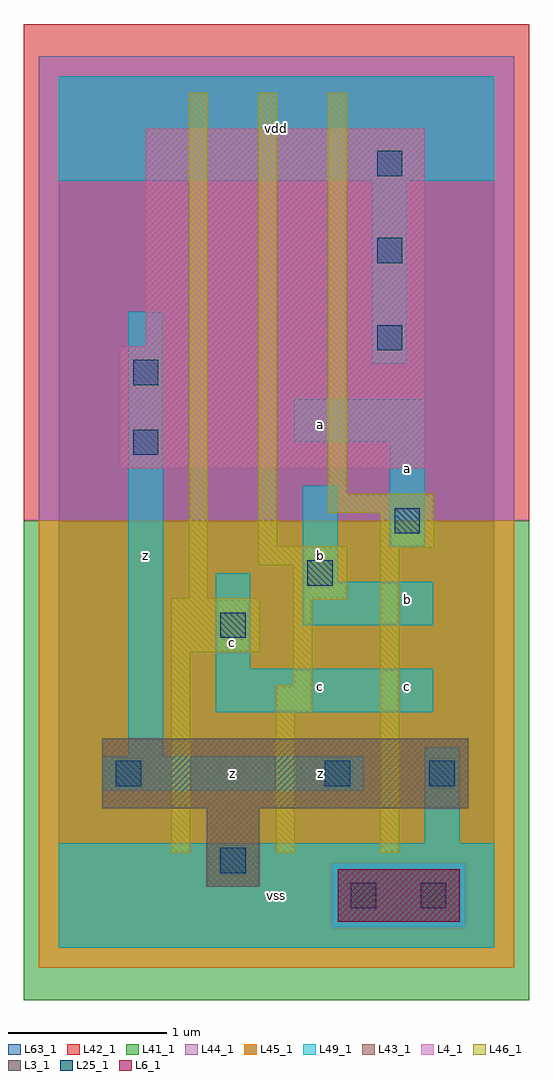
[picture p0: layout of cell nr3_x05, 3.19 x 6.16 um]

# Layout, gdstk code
import gdstk
lib = gdstk.Library(unit=1e-6, precision=1e-09)
def R(c, l, rs):  # rectangles x0, y0, x1, y1
    for r in rs: c.add(gdstk.rectangle(r[:2], r[2:], *l))
def A(c, l, x, y, w, h, nx, ny, dx, dy):  # array of equal rectangles
    R(c, l, [(x+i*dx, y+j*dy, x+i*dx+w, y+j*dy+h) for i in range(nx) for j in range(ny)])
L3_1 = (3, 1)
L4_1 = (4, 1)
L6_1 = (6, 1)
L25_1 = (25, 1)
L41_1 = (41, 1)
L42_1 = (42, 1)
L43_1 = (43, 1)
L44_1 = (44, 1)
L45_1 = (45, 1)
L46_1 = (46, 1)
L49_1 = (49, 1)
L63_1 = (63, 1)

nr3_x05 = lib.new_cell('nr3_x05')
R(nr3_x05, L3_1, [(0.935,0.385,1.265,0.88), (0.275,0.88,2.585,1.32)])
R(nr3_x05, L4_1, [(0.385,3.025,2.31,3.795), (0.55,3.795,2.31,5.17)])
R(nr3_x05, L6_1, [(1.76,0.165,2.53,0.495)])
A(nr3_x05, L25_1, 2.01, 3.77, 0.16, 0.16, 1, 3, 0, 0.55)
R(nr3_x05, L25_1, [(1.845,0.25,2.005,0.41), (2.285,0.25,2.445,0.41), (1.02,0.47,1.18,0.63), (0.36,1.02,0.52,1.18), (1.68,1.02,1.84,1.18), (2.34,1.02,2.5,1.18), (1.02,1.955,1.18,2.115), (1.57,2.285,1.73,2.445), (2.12,2.615,2.28,2.775), (0.47,3.11,0.63,3.27), (0.47,3.55,0.63,3.71)])
R(nr3_x05, L41_1, [(-0.22,-0.33,2.97,2.695)])
R(nr3_x05, L42_1, [(-0.22,2.695,2.97,5.83)])
R(nr3_x05, L43_1, [(1.76,0.165,2.53,0.495), (0.935,0.385,1.265,0.88), (0.275,0.88,2.585,1.32), (0.385,3.025,2.31,3.795), (0.55,3.795,2.31,5.17)])
R(nr3_x05, L44_1, [(1.72,0.125,2.57,0.535), (-0.125,2.695,2.875,5.625)])
R(nr3_x05, L45_1, [(-0.125,-0.125,2.875,0.125), (-0.125,0.125,1.72,0.535), (2.57,0.125,2.875,0.535), (-0.125,0.535,2.875,2.695)])
R(nr3_x05, L46_1, [(0.71,0.6,0.83,1.865), (1.37,0.6,1.49,1.48), (2.03,0.6,2.15,2.525), (1.37,1.48,1.6,1.655), (1.48,1.655,1.6,2.195), (0.71,1.865,1.27,2.205), (1.48,2.195,1.82,2.415), (0.82,2.205,0.94,5.395), (1.26,2.415,1.82,2.535), (2.03,2.525,2.37,2.745), (1.26,2.535,1.38,5.395), (1.7,2.745,2.37,2.865), (1.7,2.865,1.82,5.395)])
R(nr3_x05, L49_1, [(0,0,2.75,0.66), (2.31,0.66,2.53,1.265), (0.275,0.99,1.925,1.21), (0.44,1.21,0.66,4.015), (0.99,1.485,2.365,1.76), (0.99,1.76,1.21,2.365), (1.54,2.035,2.365,2.31), (1.54,2.31,1.76,2.915), (2.09,2.53,2.31,3.19), (1.485,3.19,2.31,3.465), (1.98,3.685,2.2,4.84), (0,4.84,2.75,5.5)])
R(nr3_x05, L63_1, [(0,0,2.75,5.5)])
nr3_x05.add(gdstk.Label('z', (1.1,1.1), layer=49, texttype=1))
nr3_x05.add(gdstk.Label('z', (1.1,1.1), layer=49, texttype=1))
nr3_x05.add(gdstk.Label('z', (0.55,2.475), layer=49, texttype=1))
nr3_x05.add(gdstk.Label('z', (0.55,2.475), layer=49, texttype=1))
nr3_x05.add(gdstk.Label('c', (1.1,1.925), layer=49, texttype=1))
nr3_x05.add(gdstk.Label('c', (1.1,1.925), layer=49, texttype=1))
nr3_x05.add(gdstk.Label('vss', (1.375,0.33), layer=49, texttype=1))
nr3_x05.add(gdstk.Label('vss', (1.375,0.33), layer=49, texttype=1))
nr3_x05.add(gdstk.Label('z', (1.65,1.1), layer=49, texttype=1))
nr3_x05.add(gdstk.Label('z', (1.65,1.1), layer=49, texttype=1))
nr3_x05.add(gdstk.Label('b', (1.65,2.475), layer=49, texttype=1))
nr3_x05.add(gdstk.Label('c', (1.65,1.65), layer=49, texttype=1))
nr3_x05.add(gdstk.Label('b', (1.65,2.475), layer=49, texttype=1))
nr3_x05.add(gdstk.Label('c', (1.65,1.65), layer=49, texttype=1))
nr3_x05.add(gdstk.Label('a', (1.65,3.3), layer=49, texttype=1))
nr3_x05.add(gdstk.Label('a', (1.65,3.3), layer=49, texttype=1))
nr3_x05.add(gdstk.Label('vdd', (1.375,5.17), layer=49, texttype=1))
nr3_x05.add(gdstk.Label('vdd', (1.375,5.17), layer=49, texttype=1))
nr3_x05.add(gdstk.Label('c', (2.2,1.65), layer=49, texttype=1))
nr3_x05.add(gdstk.Label('b', (2.2,2.2), layer=49, texttype=1))
nr3_x05.add(gdstk.Label('c', (2.2,1.65), layer=49, texttype=1))
nr3_x05.add(gdstk.Label('b', (2.2,2.2), layer=49, texttype=1))
nr3_x05.add(gdstk.Label('a', (2.2,3.025), layer=49, texttype=1))
nr3_x05.add(gdstk.Label('a', (2.2,3.025), layer=49, texttype=1))

lib.write_gds('nr3_x05.gds')
